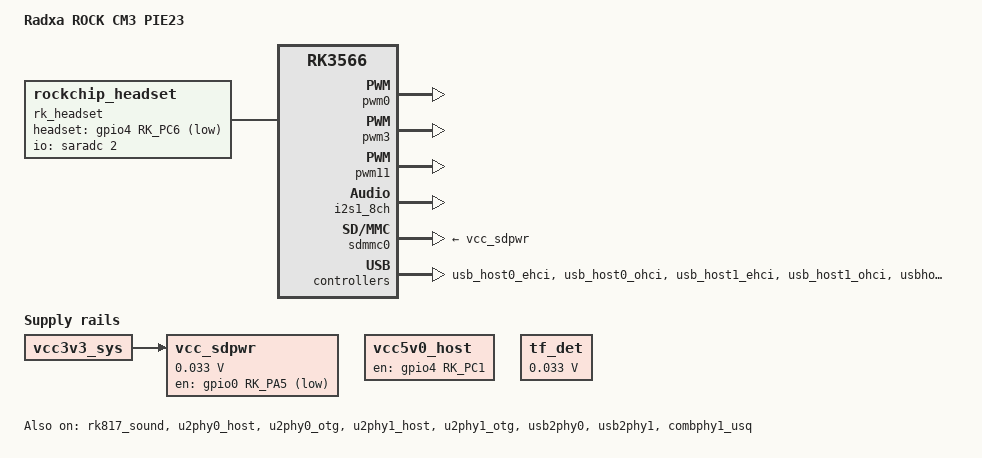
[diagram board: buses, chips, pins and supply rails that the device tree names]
// SPDX-License-Identifier: (GPL-2.0+ OR MIT)
/*
 * Copyright (c) 2020 Rockchip Electronics Co., Ltd.
 * Copyright (c) 2021 Radxa Limited.
 *
 */

/dts-v1/;

#include "rk3566-rock-compute-module-3.dtsi"

/ {
	model = "Radxa ROCK CM3 PIE23";
	compatible = "radxa,rock-cm3-e23-io", "rockchip,rk3566";

	vcc5v0_host: vcc5v0-host-regulator {
		compatible = "regulator-fixed";
		enable-active-high;
		gpio = <&gpio4 RK_PC1 GPIO_ACTIVE_HIGH>;
		pinctrl-names = "default";
		pinctrl-0 = <&vcc5v0_host_en>;
		regulator-name = "vcc5v0_host";
		regulator-always-on;
		regulator-boot-on;
	};

	//将SD卡检测脚拉低
	tf_det: gpio-regulator {
		compatible = "regulator-gpio";
		regulator-name = "tf-det";
		regulator-min-microvolt = <0000000>;
		regulator-max-microvolt = <0100000>;
		gpios = <&gpio0 RK_PD4 GPIO_ACTIVE_LOW>;
		gpios-states = <0x1>;
		states = <0100000 0x0
			  1800000 0x1>;
	};

	rk_headset: rk-headset {
		compatible = "rockchip_headset";
		headset_gpio = <&gpio4 RK_PC6 GPIO_ACTIVE_LOW>;
		pinctrl-names = "default";
		pinctrl-0 = <&hp_det>;
		io-channels = <&saradc 2>;    //HP_HOOK引脚
	};

	vcc_sdpwr: sdmmc-regulator {
		compatible="regulator-fixed";
		gpio = <&gpio0 RK_PA5 GPIO_ACTIVE_LOW>;
		pinctrl-names="default";
		pinctrl-0=<&sdpwr_en>;
		regulator-name="vcc_sdpwr";
		regulator-min-microvolt=<0000000>;
		regulator-max-microvolt=<0100000>;
		startup-delay-us=<100000>;
		vin-supply=<&vcc3v3_sys>;
	};
};

&gpio_leds {
	/delete-node/ pi-led-green;
	/delete-node/ pwr-led-red;
};

&pwm0 {
	pinctrl-0 = <&pwm0m1_pins>;
	status = "okay";
};

&pwm3 {
	status = "okay";
};

&pwm11 {
	pinctrl-0 = <&pwm11m1_pins>;
	status = "okay";
};

&rk817_sound {
	status = "okay";
};

&i2s1_8ch {
	status = "okay";
};

&display_subsystem {
    status = "disabled";
};

&hdmi {
	status = "disabled";
};

&hdmi_in_vp0 {
	status = "disabled";
};

&hdmi_in_vp1 {
	status = "disabled";
};

&hdmi_sound {
	status = "disabled";
};

&route_hdmi {
	status = "disabled";
	connect = <&vp0_out_hdmi>;
};

&i2s0_8ch {
	status = "disabled";
};

&sdmmc0 {
	vmmc-supply = <&vcc_sdpwr>;
};

&u2phy0_host {
	phy-supply = <&vcc5v0_host>;
	status = "okay";
};

&u2phy0_otg {
	status = "okay";
};

&u2phy1_host {
	status = "okay";
};

&u2phy1_otg {
	status = "okay";
};

&usb2phy0 {
	status = "okay";
};

&usb2phy1 {
	status = "okay";
};

&usb_host0_ehci {
	status = "okay";
};

&usb_host0_ohci {
	status = "okay";
};

&usb_host1_ehci {
	status = "okay";
};

&usb_host1_ohci {
	status = "okay";
};

&usbdrd_dwc3 {
	extcon=<&usb2phy0>;
	status="disabled";
};

&usbdrd30 {
	status = "disabled";
};

&usbhost_dwc3 {
	status = "okay";
};

&usbhost30 {
	status = "okay";
};

&combphy1_usq {
	status = "okay";
};

&pcie2x1 {
	status = "disabled";
};

&pinctrl {
	usb {
		vcc5v0_host_en: vcc5v0-host-en {
			rockchip,pins = <4 RK_PC1 RK_FUNC_GPIO &pcfg_pull_none>;
		};
	};

	headphone {
		hp_det: hp-det {
			rockchip,pins = <4 RK_PC6 RK_FUNC_GPIO &pcfg_pull_down>;
		};
	};

	sdcard {
		///delete-node/ sdmmc-pwren;

		sdpwr_en: sdpwr-en {
			rockchip,pins = <0 RK_PA5 RK_FUNC_GPIO &pcfg_pull_none>;
		};
	};
};

///delete-node/ &vcc_sd;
